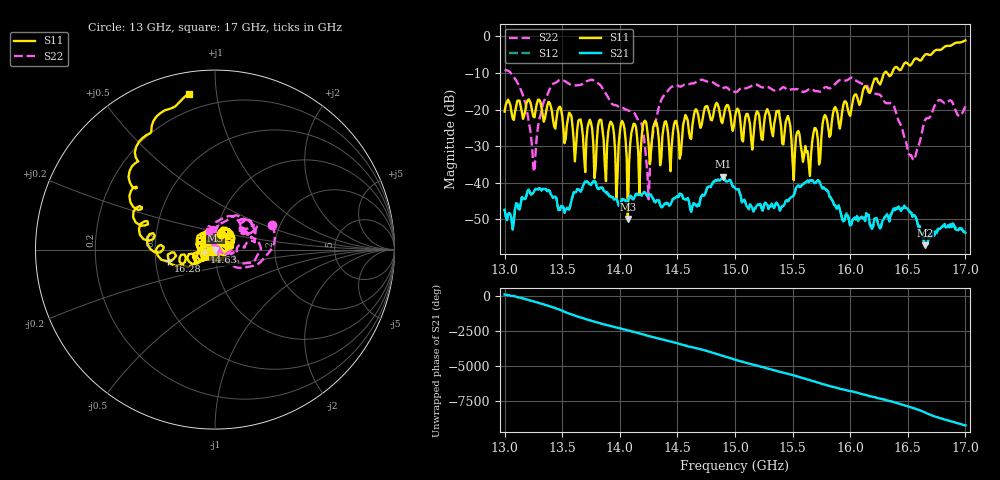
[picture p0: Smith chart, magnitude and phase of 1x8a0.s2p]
!Keysight Technologies,P9374A,MY57211807,A.19.30.04
!Date: Friday, May 08, 2026 14:08:56
!Correction: S11(C  2-Port  )
!S21(C  2-Port  )
!S12(C  2-Port  )
!S22(C  2-Port  )
!S2P File: Measurements: S11, S21, S12, S22:
# Hz S  dB  R 50
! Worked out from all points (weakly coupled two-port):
!   401 points, 13 GHz to 17 GHz, reference 50 ohm
!   highest |S21| = -38.40 dB at 14.9 GHz (marker M1); lowest = -57.2 dB at 16.65 GHz (marker M2)
!   lowest |S11| = -49.9 dB at 14.07 GHz (marker M3), VSWR 1.01, Z = 50.2 - j0.211 ohm
!   |S11| at or under -10 dB: start of sweep to 16.3 GHz; 16.32019 GHz to 16.36366 GHz (43.47 MHz wide, 0.266 % of centre)
!   |S22| runs from -44.6 to -9.1 dB; largest |S21 - S12| = 0.00054
!   S11 on the Smith chart (normalised r, x): 13 GHz: 1.05, +0.19; 14.63 GHz: 0.89, -0.03; 16.28 GHz: 0.58, -0.08; 17 GHz: 0.11, +0.84
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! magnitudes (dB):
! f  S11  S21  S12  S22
! 13 GHz  -20.6  -47.5  -47.1  -9.1
! 13.16 GHz  -22.6  -44.3  -44.3  -16.2
! 13.25 GHz  -22.0  -42.8  -42.7  -36.0
! 13.41 GHz  -20.3  -43.6  -43.6  -13.3
! 13.67 GHz  -24.6  -41.9  -41.9  -13.1
! 13.88 GHz  -39.6  -42.8  -43.0  -15.7
! 13.93 GHz  -23.7  -43.9  -43.9  -18.4
! 13.97 GHz  -44.5  -44.4  -44.2  -18.9
! 14.02 GHz  -23.1  -44.4  -44.5  -19.6
! 14.07 GHz  -49.9  -44.8  -45.2  -20.2
! 14.12 GHz  -23.9  -44.6  -44.5  -20.8
! 14.25 GHz  -29.4  -43.4  -43.3  -44.6
! 14.34 GHz  -28.7  -44.9  -44.8  -19.2
! 14.63 GHz  -24.4  -46.5  -46.2  -12.9
! 14.9 GHz  -22.2  -38.4  -38.5  -14.1
! 15 GHz  -22.1  -41.5  -41.4  -15.2
! 15.67 GHz  -28.8  -39.3  -39.3  -14.4
! 16.28 GHz  -11.4  -50.4  -50.5  -16.9
! 16.34 GHz  -10.9  -50.7  -50.0  -18.3
! 16.54 GHz  -7.2  -49.4  -49.2  -33.4
! 16.65 GHz  -5.0  -57.2  -57.4  -22.8
! 17 GHz  -1.1  -53.7  -54.4  -19.1
